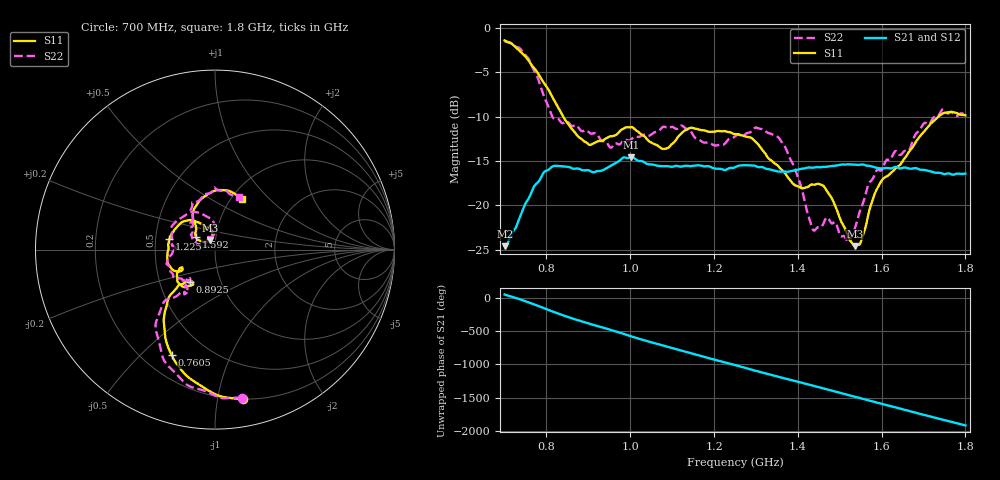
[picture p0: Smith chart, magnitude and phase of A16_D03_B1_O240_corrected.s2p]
! Created with skrf 1.9.0 (http://scikit-rf.org).
# Hz S RI R 50.0
!freq ReS11 ImS11 ReS21 ImS21 ReS12 ImS12 ReS22 ImS22
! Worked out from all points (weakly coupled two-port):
!   1601 points, 700 MHz to 1.8 GHz, reference 50 ohm
!   highest |S21| = -14.58 dB at 1.002 GHz (marker M1); lowest = -24.6 dB at 700.7 MHz (marker M2)
!   lowest |S11| = -24.6 dB at 1.536 GHz (marker M3), VSWR 1.13, Z = 47.3 + j5.06 ohm
!   |S11| at or under -10 dB: 839.8 MHz to 1.736 GHz (895.9 MHz wide, 69.6 % of centre)
!   |S22| runs from -24.2 to -1.5 dB; largest |S21 - S12| = 0.0035
!   S11 on the Smith chart (normalised r, x): 700 MHz: 0.20, -1.19; 760.5 MHz: 0.32, -0.62; 892.5 MHz: 0.71, -0.27; 1.225 GHz: 0.59, +0.07; 1.592 GHz: 0.80, +0.12; 1.8 GHz: 1.12, +0.71
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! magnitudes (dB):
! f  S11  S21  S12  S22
! 700 MHz  -1.4  -24.6  -24.4  -1.5
! 700.7 MHz  -1.4  -24.6  -24.3  -1.5
! 760.5 MHz  -3.9  -18.9  -18.8  -3.8
! 814.8 MHz  -7.9  -15.6  -15.7  -10.1
! 883.6 MHz  -12.5  -16.0  -15.9  -11.6
! 892.5 MHz  -12.9  -16.1  -16.1  -11.5
! 953 MHz  -12.2  -15.6  -15.6  -13.5
! 1.002 GHz  -11.2  -14.6  -14.7  -12.6
! 1.067 GHz  -13.3  -15.6  -15.5  -11.6
! 1.225 GHz  -11.6  -16.0  -16.0  -13.1
! 1.25 GHz  -12.0  -15.7  -15.6  -12.2
! 1.356 GHz  -15.7  -16.2  -16.1  -12.5
! 1.394 GHz  -17.7  -16.1  -16.0  -16.0
! 1.434 GHz  -17.7  -15.8  -15.7  -22.5
! 1.466 GHz  -18.1  -15.7  -15.6  -21.6
! 1.52 GHz  -23.5  -15.4  -15.4  -24.2
! 1.536 GHz  -24.6  -15.4  -15.4  -22.6
! 1.552 GHz  -23.9  -15.4  -15.4  -20.2
! 1.592 GHz  -17.9  -15.8  -15.8  -16.0
! 1.617 GHz  -16.6  -15.8  -15.8  -14.9
! 1.74 GHz  -9.9  -16.3  -16.4  -9.6
! 1.8 GHz  -9.8  -16.4  -16.4  -9.8
